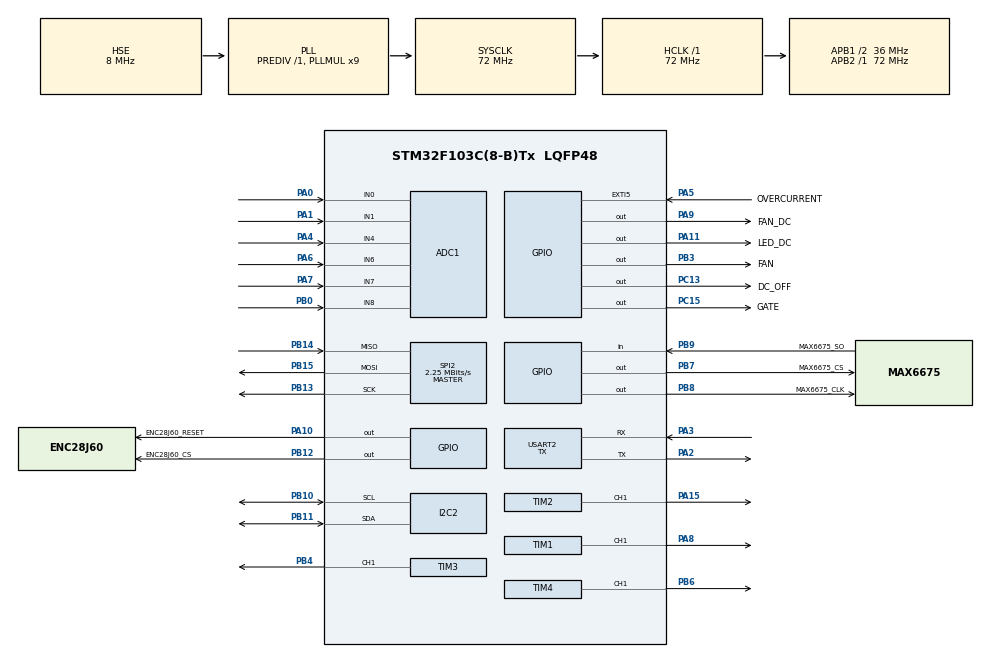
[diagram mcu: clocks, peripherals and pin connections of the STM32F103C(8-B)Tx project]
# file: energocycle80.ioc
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ADC1.Channel-0\#ChannelRegularConversion=ADC_CHANNEL_0
ADC1.Channel-1\#ChannelRegularConversion=ADC_CHANNEL_1
ADC1.Channel-2\#ChannelRegularConversion=ADC_CHANNEL_4
ADC1.Channel-3\#ChannelRegularConversion=ADC_CHANNEL_6
ADC1.Channel-4\#ChannelRegularConversion=ADC_CHANNEL_7
ADC1.Channel-5\#ChannelRegularConversion=ADC_CHANNEL_8
ADC1.ContinuousConvMode=ENABLE
ADC1.DataAlign=ADC_DATAALIGN_RIGHT
ADC1.NbrOfConversion=6
ADC1.NbrOfConversionFlag=1
ADC1.Rank-0\#ChannelRegularConversion=1
ADC1.Rank-1\#ChannelRegularConversion=2
ADC1.Rank-2\#ChannelRegularConversion=3
ADC1.Rank-3\#ChannelRegularConversion=4
ADC1.Rank-4\#ChannelRegularConversion=5
ADC1.Rank-5\#ChannelRegularConversion=6
ADC1.SamplingTime-0\#ChannelRegularConversion=ADC_SAMPLETIME_239CYCLES_5
ADC1.SamplingTime-1\#ChannelRegularConversion=ADC_SAMPLETIME_239CYCLES_5
ADC1.SamplingTime-2\#ChannelRegularConversion=ADC_SAMPLETIME_239CYCLES_5
ADC1.SamplingTime-3\#ChannelRegularConversion=ADC_SAMPLETIME_239CYCLES_5
ADC1.SamplingTime-4\#ChannelRegularConversion=ADC_SAMPLETIME_239CYCLES_5
ADC1.SamplingTime-5\#ChannelRegularConversion=ADC_SAMPLETIME_239CYCLES_5
ADC1.master=1
Dma.ADC1.0.Direction=DMA_PERIPH_TO_MEMORY
Dma.ADC1.0.Instance=DMA1_Channel1
Dma.ADC1.0.MemDataAlignment=DMA_MDATAALIGN_HALFWORD
Dma.ADC1.0.MemInc=DMA_MINC_ENABLE
Dma.ADC1.0.Mode=DMA_CIRCULAR
Dma.ADC1.0.PeriphDataAlignment=DMA_PDATAALIGN_HALFWORD
Dma.ADC1.0.PeriphInc=DMA_PINC_DISABLE
Dma.ADC1.0.Priority=DMA_PRIORITY_LOW
Dma.Request0=ADC1
FREERTOS.BinarySemaphores01=spi1BinarySem,Dynamic,NULL
FREERTOS.INCLUDE_vTaskDelayUntil=1
FREERTOS.Mutexes01=spi1Mutex,Dynamic,NULL
FREERTOS.Queues01=tempQueue,1,float,0,Dynamic,NULL,NULL;tempDCQueue,1,float,0,Dynamic,NULL,NULL
FREERTOS.Tasks01=defaultTask,-3,64,FdefaultTask,Default,NULL,Dynamic,NULL,NULL;mainTask,0,512,FmainTask,Default,NULL,Dynamic,NULL,NULL;tcpTask,0,512,FtcpTask,Default,NULL,Dynamic,NULL,NULL;tcpPeriodicTask,-2,128,FtcpPeriodicTask,Default,NULL,Dynamic,NULL,NULL;frameDecoderTask,2,256,FframeDecoderTask,Default,NULL,Dynamic,NULL,NULL
FREERTOS.Timers01=tempTimer,CtempTimer,osTimerPeriodic,Default,NULL,Dynamic,NULL;wwdgTimer,CwwdgTimer,osTimerPeriodic,Default,NULL,Dynamic,NULL
FREERTOS.configENABLE_BACKWARD_COMPATIBILITY=0
FREERTOS.configGENERATE_RUN_TIME_STATS=1
FREERTOS.configMAX_TASK_NAME_LEN=20
FREERTOS.configMINIMAL_STACK_SIZE=64
FREERTOS.configTIMER_TASK_PRIORITY=4
FREERTOS.configTIMER_TASK_STACK_DEPTH=128
FREERTOS.configTOTAL_HEAP_SIZE=8120
FREERTOS.configUSE_COUNTING_SEMAPHORES=1
FREERTOS.configUSE_MUTEXES=1
FREERTOS.configUSE_STATS_FORMATTING_FUNCTIONS=1
FREERTOS.configUSE_TIMERS=1
FREERTOS.configUSE_TRACE_FACILITY=1
Mcu.Family=STM32F1
Mcu.Name=STM32F103C(8-B)Tx
Mcu.Package=LQFP48
NVIC.ADC1_2_IRQn=true\:5\:0\:false\:false\:true\:true\:true\:true\:true
NVIC.DMA1_Channel1_IRQn=true\:5\:0\:false\:false\:true\:true\:false\:true\:true
NVIC.EXTI9_5_IRQn=true\:5\:0\:false\:false\:true\:true\:true\:true\:true
NVIC.PVD_IRQn=true\:0\:0\:true\:false\:true\:false\:true\:true\:true
NVIC.PriorityGroup=NVIC_PRIORITYGROUP_4
NVIC.WWDG_IRQn=true\:0\:0\:true\:false\:true\:false\:true\:true\:true
PA0-WKUP.Signal=ADCx_IN0
PA1.Signal=ADCx_IN1
PA10.GPIO_Label=ENC28J60_RESET
PA10.GPIO_PuPd=GPIO_PULLUP
PA10.PinState=GPIO_PIN_RESET
PA10.Signal=GPIO_Output
PA11.GPIO_Label=LED_DC
PA11.GPIO_PuPd=GPIO_PULLDOWN
PA11.Signal=GPIO_Output
PA13.Mode=Serial_Wire
PA13.Signal=SYS_JTMS-SWDIO
PA14.Mode=Serial_Wire
PA14.Signal=SYS_JTCK-SWCLK
PA15.GPIO_Speed=GPIO_SPEED_FREQ_HIGH
PA15.Signal=S_TIM2_CH1_ETR
PA2.Mode=Asynchronous
PA2.Signal=USART2_TX
PA3.Mode=Asynchronous
PA3.Signal=USART2_RX
PA4.Signal=ADCx_IN4
PA5.GPIO_Label=OVERCURRENT
PA5.GPIO_ModeDefaultEXTI=GPIO_MODE_IT_FALLING
PA5.GPIO_PuPd=GPIO_PULLUP
PA5.Signal=GPXTI5
PA6.Signal=ADCx_IN6
PA7.Signal=ADCx_IN7
PA8.GPIO_Speed=GPIO_SPEED_FREQ_HIGH
PA8.Signal=S_TIM1_CH1
PA9.GPIO_Label=FAN_DC
PA9.GPIO_ModeDefaultOutputPP=GPIO_MODE_OUTPUT_PP
PA9.GPIO_PuPd=GPIO_PULLDOWN
PA9.Signal=GPIO_Output
PB0.Signal=ADCx_IN8
PB10.GPIO_Pu=GPIO_PULLUP
PB10.Mode=I2C
PB10.Signal=I2C2_SCL
PB11.GPIO_Pu=GPIO_PULLUP
PB11.Mode=I2C
PB11.Signal=I2C2_SDA
PB12.GPIO_Label=ENC28J60_CS
PB12.GPIO_PuPd=GPIO_NOPULL
PB12.GPIO_Speed=GPIO_SPEED_FREQ_HIGH
PB12.Signal=GPIO_Output
PB13.Mode=Full_Duplex_Master
PB13.Signal=SPI2_SCK
PB14.Mode=Full_Duplex_Master
PB14.Signal=SPI2_MISO
PB15.Mode=Full_Duplex_Master
PB15.Signal=SPI2_MOSI
PB3.GPIO_Label=FAN
PB3.GPIO_PuPd=GPIO_PULLDOWN
PB3.Signal=GPIO_Output
PB4.GPIO_Speed=GPIO_SPEED_FREQ_HIGH
PB4.Signal=S_TIM3_CH1
PB6.GPIO_Speed=GPIO_SPEED_FREQ_HIGH
PB6.Signal=S_TIM4_CH1
PB7.GPIO_Label=MAX6675_CS
PB7.GPIO_Speed=GPIO_SPEED_FREQ_HIGH
PB7.Signal=GPIO_Output
PB8.GPIO_Label=MAX6675_CLK
PB8.GPIO_Speed=GPIO_SPEED_FREQ_HIGH
PB8.Signal=GPIO_Output
PB9.GPIO_Label=MAX6675_SO
PB9.Signal=GPIO_Input
PC13-TAMPER-RTC.GPIO_Label=DC_OFF
PC13-TAMPER-RTC.GPIO_PuPd=GPIO_PULLUP
PC13-TAMPER-RTC.GPIO_Speed=GPIO_SPEED_FREQ_HIGH
PC13-TAMPER-RTC.Signal=GPIO_Output
PC15-OSC32_OUT.GPIO_Label=GATE
PC15-OSC32_OUT.GPIO_PuPd=GPIO_PULLDOWN
PC15-OSC32_OUT.GPIO_Speed=GPIO_SPEED_FREQ_HIGH
PC15-OSC32_OUT.Signal=GPIO_Output
PD0-OSC_IN.Mode=HSE-External-Oscillator
PD0-OSC_IN.Signal=RCC_OSC_IN
PD1-OSC_OUT.Mode=HSE-External-Oscillator
PD1-OSC_OUT.Signal=RCC_OSC_OUT
ProjectManager.HeapSize=0x200
ProjectManager.StackSize=0x400
ProjectManager.TargetToolchain=STM32CubeIDE
RCC.ADCPresc=RCC_ADCPCLK2_DIV6
RCC.AHBFreq_Value=72000000
RCC.APB1CLKDivider=RCC_HCLK_DIV2
RCC.APB1Freq_Value=36000000
RCC.APB1TimFreq_Value=72000000
RCC.APB2Freq_Value=72000000
RCC.APB2TimFreq_Value=72000000
RCC.HCLKFreq_Value=72000000
RCC.PLLMUL=RCC_PLL_MUL9
RCC.PLLSourceVirtual=RCC_PLLSOURCE_HSE
RCC.SYSCLKFreq_VALUE=72000000
RCC.SYSCLKSource=RCC_SYSCLKSOURCE_PLLCLK
RCC.USBFreq_Value=48000000
RCC.USBPrescaler=RCC_USBCLKSOURCE_PLL_DIV1_5
SH.ADCx_IN0.0=ADC1_IN0,IN0
SH.ADCx_IN1.0=ADC1_IN1,IN1
SH.ADCx_IN4.0=ADC1_IN4,IN4
SH.ADCx_IN6.0=ADC1_IN6,IN6
SH.ADCx_IN7.0=ADC1_IN7,IN7
SH.ADCx_IN8.0=ADC1_IN8,IN8
SH.S_TIM1_CH1.0=TIM1_CH1,PWM Generation1 CH1
SH.S_TIM2_CH1_ETR.0=TIM2_CH1,PWM Generation1 CH1
SH.S_TIM3_CH1.0=TIM3_CH1,PWM Generation1 CH1
SH.S_TIM4_CH1.0=TIM4_CH1,PWM Generation1 CH1
SPI2.BaudRatePrescaler=SPI_BAUDRATEPRESCALER_16
SPI2.CalculateBaudRate=2.25 MBits/s
SPI2.Direction=SPI_DIRECTION_2LINES
SPI2.Mode=SPI_MODE_MASTER
SPI2.VirtualType=VM_MASTER
TIM1.Channel-PWM\ Generation1\ CH1=TIM_CHANNEL_1
TIM1.Period=PERIOD
TIM1.Prescaler=PRESCALER
TIM2.Channel-PWM\ Generation1\ CH1=TIM_CHANNEL_1
TIM2.Period=PERIOD
TIM2.Prescaler=PRESCALER
TIM3.Channel-PWM\ Generation1\ CH1=TIM_CHANNEL_1
TIM3.Period=PERIOD
TIM3.Prescaler=PRESCALER
TIM4.Channel-PWM\ Generation1\ CH1=TIM_CHANNEL_1
TIM4.Period=PERIOD
TIM4.Prescaler=PRESCALER
USART2.Mode=MODE_TX
USART2.VirtualMode=VM_ASYNC
VP_FREERTOS_VS_CMSIS_V1.Mode=CMSIS_V1
VP_TIM1_VS_ClockSourceINT.Mode=Internal
VP_TIM2_VS_ClockSourceINT.Mode=Internal
VP_TIM3_VS_ClockSourceINT.Mode=Internal
VP_TIM4_VS_ClockSourceINT.Mode=Internal
VP_WWDG_VS_WWDG.Mode=WWDG_Activate
WWDG.Counter=127
WWDG.EWIMode=WWDG_EWI_ENABLE
WWDG.Prescaler=WWDG_PRESCALER_8
WWDG.Window=127
board=custom

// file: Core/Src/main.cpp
/* USER CODE BEGIN Header */
/**
  ******************************************************************************
  * @file           : main.c
  * @brief          : Main program body
  ******************************************************************************
  * @attention
  *
  * <h2><center>&copy; Copyright (c) 2021 STMicroelectronics.
  * All rights reserved.</center></h2>
  *
  * This software component is licensed by ST under Ultimate Liberty license
  * SLA0044, the "License"; You may not use this file except in compliance with
  * the License. You may obtain a copy of the License at:
  *                             www.st.com/SLA0044
  *
  ******************************************************************************
  */
/* USER CODE END Header */
#include "main.h"
#include "cmsis_os.h"

/* USER CODE BEGIN Includes */
//#include "SEGGER_SYSVIEW.h"
#include "dwt.h"
#include "max6675.h"

#include "LinxSTM32F103.h"
#include "LinxListener.h"

#include "Flash.h"
#include "tcp.h"
#include "tcp_stream_buffer.h"

#include "Energocycle.h"
#include "adc.h"
#include "pwm.h"
//#include "pid.h"
#include "pwr.h"

#ifdef OCD_DEBUG
	#include <stdio.h>
#endif
#ifdef _UART_DEBUG
	#include <stdlib.h>
	#include <stdio.h>
	extern UART_HandleTypeDef huart2;
#endif
/* USER CODE END Includes */

/* USER CODE BEGIN PM */
//#define LOG(x, )
#ifdef OCD_DEBUG
extern "C" void initialise_monitor_handles(void);
#endif

void uip_log(char *m)
{
	//printf("uIP log message: %s\n", m);
#if defined SEGGER_DEBUG | defined OCD_DEBUG
	LOG("uIP log message: %s\n", m);
#endif
	//SEGGER_SYSVIEW_PrintfHost("uIP log message: %s\n", m);
}
/* USER CODE END PM */

ADC_HandleTypeDef hadc1;
DMA_HandleTypeDef hdma_adc1;

I2C_HandleTypeDef hi2c2;

SPI_HandleTypeDef hspi2;

TIM_HandleTypeDef htim1;
TIM_HandleTypeDef htim2;
TIM_HandleTypeDef htim3;
TIM_HandleTypeDef htim4;

UART_HandleTypeDef huart2;

WWDG_HandleTypeDef hwwdg;

osThreadId defaultTaskHandle;
osThreadId mainTaskHandle;
osThreadId tcpTaskHandle;
osThreadId tcpPeriodicTaskHandle;
osThreadId frameDecoderTaskHandle;
osMessageQId tempQueueHandle;
osMessageQId tempDCQueueHandle;
osTimerId tempTimerHandle;
osTimerId wwdgTimerHandle;
osMutexId spi1MutexHandle;
osSemaphoreId spi1BinarySemHandle;
/* USER CODE BEGIN PV */
//extern MessageBufferHandle_t tcp_rx_message_buffer;
//extern MessageBufferHandle_t tcp_tx_message_buffer;

LinxSTM32F103* LinxDevice;
LinxListener* Listener;
uint8_t TCP_NO_TRANS = 0x00;
uint8_t TCP_NO_TRANS_MAX = 5;
uint16_t CNT_TCP_RESETS = 0;

extern Energocycle_settings_s esettings;
extern Energocycle_status_s estatus;
extern EC_FLASH_settings eflash_settings;
extern Energocycle_ADC_s eadc;
extern Energocycle_DEBUG_s edebug;

extern MessageBufferHandle_t tcp_rx_message_buffer;
extern MessageBufferHandle_t tcp_tx_message_buffer;

extern uint8_t adc_started;
volatile uint8_t convCompleted = 0;

uint16_t energocycle_started = 0;

uint8_t WWDG_INIT = 0;
uint8_t FREERTOS_CHECK = 1;

uint16_t CNT_mainTask = 0;
uint16_t CNT_tcpTask = 0;
uint16_t CNT_tcpPeriodicTask = 0;
uint16_t CNT_frameDecoderTask = 0;
uint16_t CNT_tempTimer = 0;
uint16_t CNT_wwdgTimer = 0;
uint16_t _CNT_mainTask = 0xFFFF;
uint16_t _CNT_tcpTask = 0xFFFF;
uint16_t _CNT_tcpPeriodicTask = 0xFFFF;
uint16_t _CNT_tempTimer = 0xFFFF;

uint16_t CNT_WWDG_RESETS = 0;

#ifdef TEST_IRQ
uint8_t BUSF = 0x00;
uint8_t TEST_IRQ_fires = 0;
uint8_t STOP_MAIN = 0;
#endif
volatile int AAA[2];
volatile int BUSF;
/* USER CODE END PV */

void SystemClock_Config(void);
static void MX_GPIO_Init(void);
static void MX_SPI2_Init(void);
static void MX_ADC1_Init(void);
static void MX_I2C2_Init(void);
static void MX_TIM1_Init(void);
static void MX_DMA_Init(void);
static void MX_USART2_UART_Init(void);
static void MX_TIM2_Init(void);
static void MX_TIM3_Init(void);
static void MX_TIM4_Init(void);
static void MX_WWDG_Init(void);
void FdefaultTask(void const * argument);
void FmainTask(void const * argument);
void FtcpTask(void const * argument);
void FtcpPeriodicTask(void const * argument);
void FframeDecoderTask(void const * argument);
void CtempTimer(void const * argument);
void CwwdgTimer(void const * argument);

int main(void)
{

  /* MCU Configuration--------------------------------------------------------*/

  /* Reset of all peripherals, Initializes the Flash interface and the Systick. */
  HAL_Init();

  /* Configure the system clock */
  SystemClock_Config();

  /* Initialize all configured peripherals */
  MX_GPIO_Init();
  MX_SPI2_Init();
  MX_DMA_Init();
  MX_ADC1_Init();
  MX_I2C2_Init();
  MX_TIM1_Init();
  MX_USART2_UART_Init();
  MX_TIM2_Init();
  MX_TIM3_Init();
  MX_TIM4_Init();
  //MX_WWDG_Init();
  /* USER CODE BEGIN 2 */
  //!!!MX_DMA_Init must be before MX_ADC1_Init!!!
  //MX_WWDG_Init();
#ifdef SYSVIEW_DEBUG
  SEGGER_SYSVIEW_Conf();
#endif
#ifdef OCD_DEBUG
  initialise_monitor_handles();
#endif

  GATE_DIS();

  HAL_Delay(1000);

  FLASH_Init();
  FLASH_ReadSettings();
  if (eflash_settings.init != 0x12345670) {
	  eflash_settings.init = 0x12345670;
	  eflash_settings.epid_settings = EC_PID_settings();
	  eflash_settings.ecalib_settings = EC_CALIB_settings();
	  eflash_settings.wwdg_fires = 0x00000000;
	  eflash_settings.state = E_state_idle;
	  eflash_settings.energocycle_started = 0;
	  eflash_settings.error = E_no_error;
	  eflash_settings.ewwdg_settings = Energocycle_settings_s();
	  FLASH_WriteSettings();
  } else {
	  if (eflash_settings.wwdg_fires == 0x09876543) {
		  CNT_WWDG_RESETS++;

		  estatus.energocycle_started = eflash_settings.energocycle_started;
		  estatus.energocycle_stoped = eflash_settings.energocycle_stoped;
		  estatus.error = eflash_settings.error;
		  estatus.Cycles = eflash_settings.ewwdg_settings.Cycle; //!!!
		  esettings.Cycle = eflash_settings.ewwdg_settings.Cycle;
		  esettings.Cycles = eflash_settings.ewwdg_settings.Cycles;
		  esettings.DAC = eflash_settings.ewwdg_settings.DAC;
		  esettings.Imax = eflash_settings.ewwdg_settings.Imax;
		  esettings.Imin = eflash_settings.ewwdg_settings.Imin;
		  esettings.Inom = eflash_settings.ewwdg_settings.Inom;
		  esettings.Tmax = eflash_settings.ewwdg_settings.Tmax;
		  esettings.Tmin = eflash_settings.ewwdg_settings.Tmin;
		  esettings.Umax = eflash_settings.ewwdg_settings.Umax;
		  esettings.Umin = eflash_settings.ewwdg_settings.Umin;
		  esettings.Unom = eflash_settings.ewwdg_settings.Unom;
		  esettings.mode = eflash_settings.ewwdg_settings.mode;
		  esettings.res = eflash_settings.ewwdg_settings.res;
		  CNT_WWDG_RESETS = eflash_settings.CNT_WWDG_RESETS;

		  estatus.T_OFF = esettings.Tmax;

		  switch (eflash_settings.state) {
		  case E_state_idle:
		  case E_state_to_idle:
			  estatus.state = E_state_to_idle;
		  break;
		  case E_state_heat:
		  case E_state_to_heat:
			  estatus.state = E_state_to_heat;
		  break;
		  case E_state_cool:
		  case E_state_to_cool:
			  estatus.state = E_state_to_cool;
		  break;
		  case E_state_error:
		  case E_state_to_error:
			  estatus.state = E_state_to_error;
		  break;
		  case E_state_done:
		  case E_state_to_done:
			  estatus.state = E_state_to_done;
		  break;
		  case E_state_ostanov:
		  case E_state_to_ostanov:
			  estatus.state = E_state_to_ostanov;
		  break;
		  case E_state_test:
		  case E_state_to_test:
			  estatus.state = E_state_to_test;
		  break;
		  case E_state_calibration:
		  case E_state_to_calibration:
			  estatus.state = E_state_to_calibration;
		  break;
		  case E_state_reset:
			  estatus.state = E_state_reset;
		  break;
		  default:
			  estatus.state = E_state_to_idle;
		  }

#if defined SEGGER_DEBUG || defined OCD_DEBUG || _UART_DEBUG
		  LOG("WWDG RESTART FROM FLASH\r\n");
		  LOG("estatus.state=%u\r\n", estatus.state);
		  LOG("estatus.Cycles=%u\r\n", estatus.Cycles);
		  LOG("esettings.Cycle=%u\r\n", esettings.Cycle);
#endif

		  eflash_settings.wwdg_fires = 0x00000000;
		  eflash_settings.ewwdg_settings = Energocycle_settings_s();
		  FLASH_WriteSettings();
	  }
  }

  DWT_Init();
  MAX6675_init(); //must be first cause CS up!!!
  tcp_init();
  LM92_init();

  LinxDevice = new LinxSTM32F103();
  Listener = new LinxListener();
  Listener->LinxDev = LinxDevice;

  adc_init();
  pwm_init();
  pwr_init();
  /* USER CODE END 2 */

  /* Create the mutex(es) */
  /* definition and creation of spi1Mutex */
  osMutexDef(spi1Mutex);
  spi1MutexHandle = osMutexCreate(osMutex(spi1Mutex));

  /* Create the semaphores(s) */
  /* definition and creation of spi1BinarySem */
  osSemaphoreDef(spi1BinarySem);
  spi1BinarySemHandle = osSemaphoreCreate(osSemaphore(spi1BinarySem), 1);

  /* Create the timer(s) */
  /* definition and creation of tempTimer */
  osTimerDef(tempTimer, CtempTimer);
  tempTimerHandle = osTimerCreate(osTimer(tempTimer), osTimerPeriodic, NULL);

  /* definition and creation of wwdgTimer */
  osTimerDef(wwdgTimer, CwwdgTimer);
  wwdgTimerHandle = osTimerCreate(osTimer(wwdgTimer), osTimerPeriodic, NULL);

  /* USER CODE BEGIN RTOS_TIMERS */
  /* start timers, add new ones, ... */
  osTimerStart(tempTimerHandle, 300);
  osTimerStart(wwdgTimerHandle, 10);
  /* USER CODE END RTOS_TIMERS */

  /* Create the queue(s) */
  /* definition and creation of tempQueue */
  osMessageQDef(tempQueue, 1, float);
  tempQueueHandle = osMessageCreate(osMessageQ(tempQueue), NULL);

  /* definition and creation of tempDCQueue */
  osMessageQDef(tempDCQueue, 1, float);
  tempDCQueueHandle = osMessageCreate(osMessageQ(tempDCQueue), NULL);

  /* Create the thread(s) */
  /* definition and creation of defaultTask */
  osThreadDef(defaultTask, FdefaultTask, osPriorityIdle, 0, 64);
  defaultTaskHandle = osThreadCreate(osThread(defaultTask), NULL);

  /* definition and creation of mainTask */
  osThreadDef(mainTask, FmainTask, osPriorityNormal, 0, 512);
  mainTaskHandle = osThreadCreate(osThread(mainTask), NULL);

  /* definition and creation of tcpTask */
  osThreadDef(tcpTask, FtcpTask, osPriorityNormal, 0, 512);
  tcpTaskHandle = osThreadCreate(osThread(tcpTask), NULL);

  /* definition and creation of tcpPeriodicTask */
  osThreadDef(tcpPeriodicTask, FtcpPeriodicTask, osPriorityLow, 0, 128);
  tcpPeriodicTaskHandle = osThreadCreate(osThread(tcpPeriodicTask), NULL);

  /* definition and creation of frameDecoderTask */
  osThreadDef(frameDecoderTask, FframeDecoderTask, osPriorityHigh, 0, 256);
  frameDecoderTaskHandle = osThreadCreate(osThread(frameDecoderTask), NULL);

  /* USER CODE BEGIN RTOS_THREADS */
  /* add threads, ... */
  #if defined SEGGER_DEBUG || defined OCD_DEBUG || _UART_DEBUG
    LOG("%s", "stm started\r\n");

    LOG("PID_SETTINGS \r\n"
		"T Kp=%u.%02u; T Ki=%u.%02u; T Kd=%u.%02u; \r\n"
		"U Kp=%u.%02u; U Ki=%u.%02u; U Kd=%u.%02u; \r\n"
		"I Kp=%u.%02u; I Ki=%u.%02u; I Kd=%u.%02u; \r\n",
  		FLOAT_PRINTF(eflash_settings.epid_settings.T_PID_settings.Kp),
  		FLOAT_PRINTF(eflash_settings.epid_settings.T_PID_settings.Ki),
  		FLOAT_PRINTF(eflash_settings.epid_settings.T_PID_settings.Kd),
  		FLOAT_PRINTF(eflash_settings.epid_settings.U_PID_settings.Kp),
  		FLOAT_PRINTF(eflash_settings.epid_settings.U_PID_settings.Ki),
  		FLOAT_PRINTF(eflash_settings.epid_settings.U_PID_settings.Kd),
  		FLOAT_PRINTF(eflash_settings.epid_settings.I_PID_settings.Kp),
  		FLOAT_PRINTF(eflash_settings.epid_settings.I_PID_settings.Ki),
  		FLOAT_PRINTF(eflash_settings.epid_settings.I_PID_settings.Kd));

    LOG("CALIB_SETTINGS \r\n"
  		"T K=%u.%02u; T B=%u.%02u \r\n"
  		"U K=%u.%02u; U B=%u.%02u; \r\n"
  		"I K=%u.%02u; I B=%u.%02u; \r\n",
  		FLOAT_PRINTF(eflash_settings.ecalib_settings.T_CALIB_settings.K),
  		FLOAT_PRINTF(eflash_settings.ecalib_settings.T_CALIB_settings.B),
  		FLOAT_PRINTF(eflash_settings.ecalib_settings.U_CALIB_settings.K),
  		FLOAT_PRINTF(eflash_settings.ecalib_settings.U_CALIB_settings.B),
  		FLOAT_PRINTF(eflash_settings.ecalib_settings.I_CALIB_settings.K),
  		FLOAT_PRINTF(eflash_settings.ecalib_settings.I_CALIB_settings.B));
  #endif

  /* USER CODE END RTOS_THREADS */

  /* Start scheduler */
  osKernelStart();

  /* We should never get here as control is now taken by the scheduler */
  /* Infinite loop */
  while (1)
  {

  }
}

void SystemClock_Config(void)
{
  RCC_OscInitTypeDef RCC_OscInitStruct = {0};
  RCC_ClkInitTypeDef RCC_ClkInitStruct = {0};
  RCC_PeriphCLKInitTypeDef PeriphClkInit = {0};

  /** Initializes the RCC Oscillators according to the specified parameters
  * in the RCC_OscInitTypeDef structure.
  */
  RCC_OscInitStruct.OscillatorType = RCC_OSCILLATORTYPE_HSE;
  RCC_OscInitStruct.HSEState = RCC_HSE_ON;
  RCC_OscInitStruct.HSEPredivValue = RCC_HSE_PREDIV_DIV1;
  RCC_OscInitStruct.HSIState = RCC_HSI_ON;
  RCC_OscInitStruct.PLL.PLLState = RCC_PLL_ON;
  RCC_OscInitStruct.PLL.PLLSource = RCC_PLLSOURCE_HSE;
  RCC_OscInitStruct.PLL.PLLMUL = RCC_PLL_MUL9;
  if (HAL_RCC_OscConfig(&RCC_OscInitStruct) != HAL_OK)
  {
    Error_Handler();
  }
  /** Initializes the CPU, AHB and APB buses clocks
  */
  RCC_ClkInitStruct.ClockType = RCC_CLOCKTYPE_HCLK|RCC_CLOCKTYPE_SYSCLK
                              |RCC_CLOCKTYPE_PCLK1|RCC_CLOCKTYPE_PCLK2;
  RCC_ClkInitStruct.SYSCLKSource = RCC_SYSCLKSOURCE_PLLCLK;
  RCC_ClkInitStruct.AHBCLKDivider = RCC_SYSCLK_DIV1;
  RCC_ClkInitStruct.APB1CLKDivider = RCC_HCLK_DIV2;
  RCC_ClkInitStruct.APB2CLKDivider = RCC_HCLK_DIV1;

  if (HAL_RCC_ClockConfig(&RCC_ClkInitStruct, FLASH_LATENCY_2) != HAL_OK)
  {
    Error_Handler();
  }
  PeriphClkInit.PeriphClockSelection = RCC_PERIPHCLK_ADC;
  PeriphClkInit.AdcClockSelection = RCC_ADCPCLK2_DIV6;
  if (HAL_RCCEx_PeriphCLKConfig(&PeriphClkInit) != HAL_OK)
  {
    Error_Handler();
  }
}

static void MX_ADC1_Init(void)
{

  ADC_ChannelConfTypeDef sConfig = {0};

  /** Common config
  */
  hadc1.Instance = ADC1;
  hadc1.Init.ScanConvMode = ADC_SCAN_ENABLE;
  hadc1.Init.ContinuousConvMode = ENABLE;
  hadc1.Init.DiscontinuousConvMode = DISABLE;
  hadc1.Init.ExternalTrigConv = ADC_SOFTWARE_START;
  hadc1.Init.DataAlign = ADC_DATAALIGN_RIGHT;
  hadc1.Init.NbrOfConversion = 6;
  if (HAL_ADC_Init(&hadc1) != HAL_OK)
  {
    Error_Handler();
  }
  /** Configure Regular Channel
  */
  sConfig.Channel = ADC_CHANNEL_0;
  sConfig.Rank = ADC_REGULAR_RANK_1;
  sConfig.SamplingTime = ADC_SAMPLETIME_239CYCLES_5;
  if (HAL_ADC_ConfigChannel(&hadc1, &sConfig) != HAL_OK)
  {
    Error_Handler();
  }
  /** Configure Regular Channel
  */
  sConfig.Channel = ADC_CHANNEL_1;
  sConfig.Rank = ADC_REGULAR_RANK_2;
  if (HAL_ADC_ConfigChannel(&hadc1, &sConfig) != HAL_OK)
  {
    Error_Handler();
  }
  /** Configure Regular Channel
  */
  sConfig.Channel = ADC_CHANNEL_4;
  sConfig.Rank = ADC_REGULAR_RANK_3;
  if (HAL_ADC_ConfigChannel(&hadc1, &sConfig) != HAL_OK)
  {
    Error_Handler();
  }
  /** Configure Regular Channel
  */
  sConfig.Channel = ADC_CHANNEL_6;
  sConfig.Rank = ADC_REGULAR_RANK_4;
  if (HAL_ADC_ConfigChannel(&hadc1, &sConfig) != HAL_OK)
  {
    Error_Handler();
  }
  /** Configure Regular Channel
  */
  sConfig.Channel = ADC_CHANNEL_7;
  sConfig.Rank = ADC_REGULAR_RANK_5;
  if (HAL_ADC_ConfigChannel(&hadc1, &sConfig) != HAL_OK)
  {
    Error_Handler();
  }
  /** Configure Regular Channel
  */
  sConfig.Channel = ADC_CHANNEL_8;
  sConfig.Rank = ADC_REGULAR_RANK_6;
  if (HAL_ADC_ConfigChannel(&hadc1, &sConfig) != HAL_OK)
  {
    Error_Handler();
  }

}

static void MX_I2C2_Init(void)
{

  hi2c2.Instance = I2C2;
  hi2c2.Init.ClockSpeed = 100000;
  hi2c2.Init.DutyCycle = I2C_DUTYCYCLE_2;
  hi2c2.Init.OwnAddress1 = 0;
  hi2c2.Init.AddressingMode = I2C_ADDRESSINGMODE_7BIT;
  hi2c2.Init.DualAddressMode = I2C_DUALADDRESS_DISABLE;
  hi2c2.Init.OwnAddress2 = 0;
  hi2c2.Init.GeneralCallMode = I2C_GENERALCALL_DISABLE;
  hi2c2.Init.NoStretchMode = I2C_NOSTRETCH_DISABLE;
  if (HAL_I2C_Init(&hi2c2) != HAL_OK)
  {
    Error_Handler();
  }

}

static void MX_SPI2_Init(void)
{

  /* SPI2 parameter configuration*/
  hspi2.Instance = SPI2;
  hspi2.Init.Mode = SPI_MODE_MASTER;
  hspi2.Init.Direction = SPI_DIRECTION_2LINES;
  hspi2.Init.DataSize = SPI_DATASIZE_8BIT;
  hspi2.Init.CLKPolarity = SPI_POLARITY_LOW;
  hspi2.Init.CLKPhase = SPI_PHASE_1EDGE;
  hspi2.Init.NSS = SPI_NSS_SOFT;
  hspi2.Init.BaudRatePrescaler = SPI_BAUDRATEPRESCALER_16;
  hspi2.Init.FirstBit = SPI_FIRSTBIT_MSB;
  hspi2.Init.TIMode = SPI_TIMODE_DISABLE;
  hspi2.Init.CRCCalculation = SPI_CRCCALCULATION_DISABLE;
  hspi2.Init.CRCPolynomial = 10;
  if (HAL_SPI_Init(&hspi2) != HAL_OK)
  {
    Error_Handler();
  }

}

static void MX_TIM1_Init(void)
{

  TIM_ClockConfigTypeDef sClockSourceConfig = {0};
  TIM_MasterConfigTypeDef sMasterConfig = {0};
  TIM_OC_InitTypeDef sConfigOC = {0};
  TIM_BreakDeadTimeConfigTypeDef sBreakDeadTimeConfig = {0};

  htim1.Instance = TIM1;
  htim1.Init.Prescaler = PRESCALER;
  htim1.Init.CounterMode = TIM_COUNTERMODE_UP;
  htim1.Init.Period = PERIOD;
  htim1.Init.ClockDivision = TIM_CLOCKDIVISION_DIV1;
  htim1.Init.RepetitionCounter = 0;
  htim1.Init.AutoReloadPreload = TIM_AUTORELOAD_PRELOAD_DISABLE;
  if (HAL_TIM_Base_Init(&htim1) != HAL_OK)
  {
    Error_Handler();
  }
  sClockSourceConfig.ClockSource = TIM_CLOCKSOURCE_INTERNAL;
  if (HAL_TIM_ConfigClockSource(&htim1, &sClockSourceConfig) != HAL_OK)
  {
    Error_Handler();
  }
  if (HAL_TIM_PWM_Init(&htim1) != HAL_OK)
  {
    Error_Handler();
  }
  sMasterConfig.MasterOutputTrigger = TIM_TRGO_RESET;
  sMasterConfig.MasterSlaveMode = TIM_MASTERSLAVEMODE_DISABLE;
  if (HAL_TIMEx_MasterConfigSynchronization(&htim1, &sMasterConfig) != HAL_OK)
  {
    Error_Handler();
  }
  sConfigOC.OCMode = TIM_OCMODE_PWM1;
  sConfigOC.Pulse = 0;
  sConfigOC.OCPolarity = TIM_OCPOLARITY_HIGH;
  sConfigOC.OCNPolarity = TIM_OCNPOLARITY_HIGH;
  sConfigOC.OCFastMode = TIM_OCFAST_DISABLE;
  sConfigOC.OCIdleState = TIM_OCIDLESTATE_RESET;
  sConfigOC.OCNIdleState = TIM_OCNIDLESTATE_RESET;
  if (HAL_TIM_PWM_ConfigChannel(&htim1, &sConfigOC, TIM_CHANNEL_1) != HAL_OK)
  {
    Error_Handler();
  }
  sBreakDeadTimeConfig.OffStateRunMode = TIM_OSSR_DISABLE;
  sBreakDeadTimeConfig.OffStateIDLEMode = TIM_OSSI_DISABLE;
  sBreakDeadTimeConfig.LockLevel = TIM_LOCKLEVEL_OFF;
  sBreakDeadTimeConfig.DeadTime = 0;
  sBreakDeadTimeConfig.BreakState = TIM_BREAK_DISABLE;
  sBreakDeadTimeConfig.BreakPolarity = TIM_BREAKPOLARITY_HIGH;
  sBreakDeadTimeConfig.AutomaticOutput = TIM_AUTOMATICOUTPUT_DISABLE;
  if (HAL_TIMEx_ConfigBreakDeadTime(&htim1, &sBreakDeadTimeConfig) != HAL_OK)
  {
    Error_Handler();
  }
  HAL_TIM_MspPostInit(&htim1);

}

static void MX_TIM2_Init(void)
{

  TIM_ClockConfigTypeDef sClockSourceConfig = {0};
  TIM_MasterConfigTypeDef sMasterConfig = {0};
  TIM_OC_InitTypeDef sConfigOC = {0};

  htim2.Instance = TIM2;
  htim2.Init.Prescaler = PRESCALER;
  htim2.Init.CounterMode = TIM_COUNTERMODE_UP;
  htim2.Init.Period = PERIOD;
  htim2.Init.ClockDivision = TIM_CLOCKDIVISION_DIV1;
  htim2.Init.AutoReloadPreload = TIM_AUTORELOAD_PRELOAD_DISABLE;
  if (HAL_TIM_Base_Init(&htim2) != HAL_OK)
  {
    Error_Handler();
  }
  sClockSourceConfig.ClockSource = TIM_CLOCKSOURCE_INTERNAL;
  if (HAL_TIM_ConfigClockSource(&htim2, &sClockSourceConfig) != HAL_OK)
  {
    Error_Handler();
  }
  if (HAL_TIM_PWM_Init(&htim2) != HAL_OK)
  {
    Error_Handler();
  }
  sMasterConfig.MasterOutputTrigger = TIM_TRGO_RESET;
  sMasterConfig.MasterSlaveMode = TIM_MASTERSLAVEMODE_DISABLE;
  if (HAL_TIMEx_MasterConfigSynchronization(&htim2, &sMasterConfig) != HAL_OK)
  {
    Error_Handler();
  }
  sConfigOC.OCMode = TIM_OCMODE_PWM1;
  sConfigOC.Pulse = 0;
  sConfigOC.OCPolarity = TIM_OCPOLARITY_HIGH;
  sConfigOC.OCFastMode = TIM_OCFAST_DISABLE;
  if (HAL_TIM_PWM_ConfigChannel(&htim2, &sConfigOC, TIM_CHANNEL_1) != HAL_OK)
  {
    Error_Handler();
  }
  HAL_TIM_MspPostInit(&htim2);

}

static void MX_TIM3_Init(void)
{

  TIM_ClockConfigTypeDef sClockSourceConfig = {0};
  TIM_MasterConfigTypeDef sMasterConfig = {0};
  TIM_OC_InitTypeDef sConfigOC = {0};

  htim3.Instance = TIM3;
  htim3.Init.Prescaler = PRESCALER;
  htim3.Init.CounterMode = TIM_COUNTERMODE_UP;
  htim3.Init.Period = PERIOD;
  htim3.Init.ClockDivision = TIM_CLOCKDIVISION_DIV1;
  htim3.Init.AutoReloadPreload = TIM_AUTORELOAD_PRELOAD_DISABLE;
  if (HAL_TIM_Base_Init(&htim3) != HAL_OK)
  {
    Error_Handler();
  }
  sClockSourceConfig.ClockSource = TIM_CLOCKSOURCE_INTERNAL;
  if (HAL_TIM_ConfigClockSource(&htim3, &sClockSourceConfig) != HAL_OK)
  {
    Error_Handler();
  }
  if (HAL_TIM_PWM_Init(&htim3) != HAL_OK)
  {
    Error_Handler();
  }
  sMasterConfig.MasterOutputTrigger = TIM_TRGO_RESET;
  sMasterConfig.MasterSlaveMode = TIM_MASTERSLAVEMODE_DISABLE;
  if (HAL_TIMEx_MasterConfigSynchronization(&htim3, &sMasterConfig) != HAL_OK)
  {
    Error_Handler();
  }
  sConfigOC.OCMode = TIM_OCMODE_PWM1;
  sConfigOC.Pulse = 0;
  sConfigOC.OCPolarity = TIM_OCPOLARITY_HIGH;
  sConfigOC.OCFastMode = TIM_OCFAST_DISABLE;
  if (HAL_TIM_PWM_ConfigChannel(&htim3, &sConfigOC, TIM_CHANNEL_1) != HAL_OK)
  {
    Error_Handler();
  }
  HAL_TIM_MspPostInit(&htim3);

}

static void MX_TIM4_Init(void)
{

  TIM_ClockConfigTypeDef sClockSourceConfig = {0};
  TIM_MasterConfigTypeDef sMasterConfig = {0};
  TIM_OC_InitTypeDef sConfigOC = {0};

  htim4.Instance = TIM4;
  htim4.Init.Prescaler = PRESCALER;
  htim4.Init.CounterMode = TIM_COUNTERMODE_UP;
  htim4.Init.Period = PERIOD;
  htim4.Init.ClockDivision = TIM_CLOCKDIVISION_DIV1;
  htim4.Init.AutoReloadPreload = TIM_AUTORELOAD_PRELOAD_DISABLE;
  if (HAL_TIM_Base_Init(&htim4) != HAL_OK)
  {
    Error_Handler();
  }
  sClockSourceConfig.ClockSource = TIM_CLOCKSOURCE_INTERNAL;
  if (HAL_TIM_ConfigClockSource(&htim4, &sClockSourceConfig) != HAL_OK)
  {
    Error_Handler();
  }
  if (HAL_TIM_PWM_Init(&htim4) != HAL_OK)
  {
    Error_Handler();
  }
  sMasterConfig.MasterOutputTrigger = TIM_TRGO_RESET;
  sMasterConfig.MasterSlaveMode = TIM_MASTERSLAVEMODE_DISABLE;
  if (HAL_TIMEx_MasterConfigSynchronization(&htim4, &sMasterConfig) != HAL_OK)
  {
    Error_Handler();
  }
  sConfigOC.OCMode = TIM_OCMODE_PWM1;
  sConfigOC.Pulse = 0;
  sConfigOC.OCPolarity = TIM_OCPOLARITY_HIGH;
  sConfigOC.OCFastMode = TIM_OCFAST_DISABLE;
  if (HAL_TIM_PWM_ConfigChannel(&htim4, &sConfigOC, TIM_CHANNEL_1) != HAL_OK)
  {
    Error_Handler();
  }
  HAL_TIM_MspPostInit(&htim4);

}

static void MX_USART2_UART_Init(void)
{

  huart2.Instance = USART2;
  huart2.Init.BaudRate = 115200;
  huart2.Init.WordLength = UART_WORDLENGTH_8B;
  huart2.Init.StopBits = UART_STOPBITS_1;
  huart2.Init.Parity = UART_PARITY_NONE;
  huart2.Init.Mode = UART_MODE_TX;
  huart2.Init.HwFlowCtl = UART_HWCONTROL_NONE;
  huart2.Init.OverSampling = UART_OVERSAMPLING_16;
  if (HAL_UART_Init(&huart2) != HAL_OK)
  {
    Error_Handler();
  }

}

static void MX_WWDG_Init(void)
{

  hwwdg.Instance = WWDG;
  hwwdg.Init.Prescaler = WWDG_PRESCALER_8;
  hwwdg.Init.Window = 127;
  hwwdg.Init.Counter = 127;
  hwwdg.Init.EWIMode = WWDG_EWI_ENABLE;
  if (HAL_WWDG_Init(&hwwdg) != HAL_OK)
  {
    Error_Handler();
  }
  /* USER CODE BEGIN WWDG_Init 2 */
  __HAL_WWDG_ENABLE(&hwwdg);
  WWDG->SR &= ~WWDG_SR_EWIF;
  WWDG->CFR |= WWDG_CFR_EWI;
  //WWDG->CR = 0x3F;
  /* USER CODE END WWDG_Init 2 */

}

static void MX_DMA_Init(void)
{

  /* DMA controller clock enable */
  __HAL_RCC_DMA1_CLK_ENABLE();

  /* DMA interrupt init */
  /* DMA1_Channel1_IRQn interrupt configuration */
  HAL_NVIC_SetPriority(DMA1_Channel1_IRQn, 5, 0);
  HAL_NVIC_EnableIRQ(DMA1_Channel1_IRQn);

}

static void MX_GPIO_Init(void)
{
  GPIO_InitTypeDef GPIO_InitStruct = {0};

  /* GPIO Ports Clock Enable */
  __HAL_RCC_GPIOC_CLK_ENABLE();
  __HAL_RCC_GPIOD_CLK_ENABLE();
  __HAL_RCC_GPIOA_CLK_ENABLE();
  __HAL_RCC_GPIOB_CLK_ENABLE();

  /*Configure GPIO pin Output Level */
  HAL_GPIO_WritePin(GPIOC, DC_OFF_Pin|GATE_Pin, GPIO_PIN_RESET);

  /*Configure GPIO pin Output Level */
  HAL_GPIO_WritePin(GPIOB, ENC28J60_CS_Pin|FAN_Pin|MAX6675_CS_Pin|MAX6675_CLK_Pin, GPIO_PIN_RESET);

  /*Configure GPIO pin Output Level */
  HAL_GPIO_WritePin(GPIOA, FAN_DC_Pin|ENC28J60_RESET_Pin|LED_DC_Pin, GPIO_PIN_RESET);

  /*Configure GPIO pin : DC_OFF_Pin */
  GPIO_InitStruct.Pin = DC_OFF_Pin;
  GPIO_InitStruct.Mode = GPIO_MODE_OUTPUT_PP;
  GPIO_InitStruct.Pull = GPIO_PULLUP;
  GPIO_InitStruct.Speed = GPIO_SPEED_FREQ_HIGH;
  HAL_GPIO_Init(DC_OFF_GPIO_Port, &GPIO_InitStruct);

  /*Configure GPIO pin : GATE_Pin */
  GPIO_InitStruct.Pin = GATE_Pin;
  GPIO_InitStruct.Mode = GPIO_MODE_OUTPUT_PP;
  GPIO_InitStruct.Pull = GPIO_PULLDOWN;
  GPIO_InitStruct.Speed = GPIO_SPEED_FREQ_HIGH;
  HAL_GPIO_Init(GATE_GPIO_Port, &GPIO_InitStruct);

  /*Configure GPIO pin : OVERCURRENT_Pin */
  GPIO_InitStruct.Pin = OVERCURRENT_Pin;
  GPIO_InitStruct.Mode = GPIO_MODE_IT_FALLING;
  GPIO_InitStruct.Pull = GPIO_PULLUP;
  HAL_GPIO_Init(OVERCURRENT_GPIO_Port, &GPIO_InitStruct);

  /*Configure GPIO pins : ENC28J60_CS_Pin MAX6675_CS_Pin MAX6675_CLK_Pin */
  GPIO_InitStruct.Pin = ENC28J60_CS_Pin|MAX6675_CS_Pin|MAX6675_CLK_Pin;
  GPIO_InitStruct.Mode = GPIO_MODE_OUTPUT_PP;
  GPIO_InitStruct.Pull = GPIO_NOPULL;
  GPIO_InitStruct.Speed = GPIO_SPEED_FREQ_HIGH;
  HAL_GPIO_Init(GPIOB, &GPIO_InitStruct);

  /*Configure GPIO pins : FAN_DC_Pin LED_DC_Pin */
  GPIO_InitStruct.Pin = FAN_DC_Pin|LED_DC_Pin;
  GPIO_InitStruct.Mode = GPIO_MODE_OUTPUT_PP;
  GPIO_InitStruct.Pull = GPIO_PULLDOWN;
  GPIO_InitStruct.Speed = GPIO_SPEED_FREQ_LOW;
  HAL_GPIO_Init(GPIOA, &GPIO_InitStruct);

  /*Configure GPIO pin : ENC28J60_RESET_Pin */
  GPIO_InitStruct.Pin = ENC28J60_RESET_Pin;
  GPIO_InitStruct.Mode = GPIO_MODE_OUTPUT_PP;
  GPIO_InitStruct.Pull = GPIO_PULLUP;
  GPIO_InitStruct.Speed = GPIO_SPEED_FREQ_LOW;
  HAL_GPIO_Init(ENC28J60_RESET_GPIO_Port, &GPIO_InitStruct);

  /*Configure GPIO pin : FAN_Pin */
  GPIO_InitStruct.Pin = FAN_Pin;
  GPIO_InitStruct.Mode = GPIO_MODE_OUTPUT_PP;
  GPIO_InitStruct.Pull = GPIO_PULLDOWN;
  GPIO_InitStruct.Speed = GPIO_SPEED_FREQ_LOW;
  HAL_GPIO_Init(FAN_GPIO_Port, &GPIO_InitStruct);

  /*Configure GPIO pin : MAX6675_SO_Pin */
  GPIO_InitStruct.Pin = MAX6675_SO_Pin;
  GPIO_InitStruct.Mode = GPIO_MODE_INPUT;
  GPIO_InitStruct.Pull = GPIO_NOPULL;
  HAL_GPIO_Init(MAX6675_SO_GPIO_Port, &GPIO_InitStruct);

  /* EXTI interrupt init*/
  HAL_NVIC_SetPriority(EXTI9_5_IRQn, 5, 0);
  HAL_NVIC_EnableIRQ(EXTI9_5_IRQn);

}

/* USER CODE BEGIN 4 */
void HAL_GPIO_EXTI_Callback(uint16_t GPIO_Pin) {
	if (GPIO_Pin == OVERCURRENT_Pin) {

		energocycle_abort();

		if ((estatus.state == E_state_to_heat) || (estatus.state == E_state_heat) ||
			(estatus.state == E_state_to_test) || (estatus.state == E_state_test) ||
			(estatus.state == E_state_to_calibration) || (estatus.state == E_state_calibration)) {
			estatus.state = E_state_to_error;
			estatus.error = E_I_overcurrent;
		}
	}
#ifdef TEST_IRQ
	else if (GPIO_Pin == TEST_IRQ_Pin){
		//HAL_NVIC_ClearPendingIRQ(EXTI15_10_IRQn);

		if (TEST_IRQ_fires == 0) {
			TEST_IRQ_fires = 1;

			LOG("HAL_GPIO_EXTI_Callback \r\n");

			//volatile int AAA[2];
			//BUSF = AAA[100000000];

			STOP_MAIN = 1;

			LOG("HAL_GPIO_EXTI_Callback END\r\n"); //unreachable
		}
	}
#endif
	else {
		__NOP();
	}
}

void HAL_ADC_ConvCpltCallback(ADC_HandleTypeDef* hadc) {
  convCompleted = 1;

  BaseType_t xYieldRequired;

  // Resume the suspended task.
  xYieldRequired = xTaskResumeFromISR(mainTaskHandle);

  // We should switch context so the ISR returns to a different task.
  // NOTE:  How this is done depends on the port you are using.  Check
  // the documentation and examples for your port.
  portYIELD_FROM_ISR(xYieldRequired);
}

void HAL_ADC_ErrorCallback(ADC_HandleTypeDef *hadc) {
  asm("BKPT #0");
}

void HAL_WWDG_EarlyWakeupCallback(WWDG_HandleTypeDef *hwwdg) {

	WWDG->CR |= 0x7F;

	__disable_irq();

	WWDG->CR |= 0x7F;
#if defined SEGGER_DEBUG || defined OCD_DEBUG || _UART_DEBUG
	LOG("HAL_WWDG_EarlyWakeupCallback\r\n");
#endif
	WWDG->CR |= 0x7F;

	energocycle_write_flash();

	WWDG->CR |= 0x40; // Обновить значение таймера WWDG
	HAL_Delay(10);
	//HAL_NVIC_SystemReset();
}

void HAL_PWR_PVDCallback(void)
{
	energocycle_abort();

	if ((estatus.state == E_state_to_heat) || (estatus.state == E_state_heat) ||
		(estatus.state == E_state_to_test) || (estatus.state == E_state_test) ||
		(estatus.state == E_state_to_calibration) || (estatus.state == E_state_calibration)) {
		estatus.state = E_state_to_error;
		estatus.error = E_WD;
	}
}
/* USER CODE END 4 */

void FdefaultTask(void const * argument)
{
  /* USER CODE BEGIN 5 */

	/* Infinite loop */
	for(;;)
	{
#ifdef TEST_IRQ
		if (TEST_IRQ_fires == 1) {
			if (STOP_MAIN == 1) {
				osThreadTerminate(mainTaskHandle);
			}
			osDelay(10000);
			TEST_IRQ_fires = 0;
		} else {
			osDelay(1000);
		}
#else
		osDelay(1000);
#endif
	}

  /* USER CODE END 5 */
}

void FmainTask(void const * argument)
{
  /* USER CODE BEGIN FmainTask */
  uint32_t i = 0;

  TickType_t xLastWakeTime = xTaskGetTickCount();
  /* Infinite loop */
  HAL_Delay(100);

#ifdef WWDG_PROTECTION
  MX_WWDG_Init();
  WWDG_INIT = 1;
#endif

  //adc_start();
  pwm_set_up();

  for(;;)
  {
#if defined SEGGER_DEBUG || defined OCD_DEBUG
	SEGGER_SYSVIEW_PrintfHost("main\n");
#endif

	vTaskSuspend(NULL);

	if (convCompleted){
		if (adc_started < ADC_START_MEASUREMENTS) {
			adc_started++;
		} else if (adc_started == ADC_START_MEASUREMENTS) {
			adc_get_values();
			uint8_t I_meas_error = adc_get_zeroes();
			if (I_meas_error == 1) {
				estatus.state = E_state_to_error;
				estatus.error = E_I_measure;
			}
			adc_started++;
		} else {
			adc_get_values();
		}
		convCompleted = 0;
	} else {
#if defined SEGGER_DEBUG || defined OCD_DEBUG
		LOG("adc timeout\r\n");
#endif
	}

	float temp = 0;
	if(xQueuePeek(tempQueueHandle, &temp, 0) == pdTRUE) { //1/portTICK_PERIOD_MS
		estatus.T = temp;
	}
	if(xQueuePeek(tempDCQueueHandle, &temp, 0) == pdTRUE) { //1/portTICK_PERIOD_MS
		estatus.T_DC = temp;
	}

#if defined SEGGER_DEBUG || defined OCD_DEBUG
	//SEGGER_SYSVIEW_PrintfHost("temp %u.%02u\n", FLOAT_PRINTF(temp));
	//LOG("T=%u.%02u; ", FLOAT_PRINTF(estatus.T));
	//LOG("U=%u.%02u; ", FLOAT_PRINTF(estatus.U));
	//LOG("I=%u.%02u;\n", FLOAT_PRINTF(estatus.I));
#endif

	if (energocycle_started > (ENERGOCYCLE_START / T_MEASURE_RATE)) {
		energocycle_cycle();
	} else {
		energocycle_started++;
	}

	estatus.TCP_RESETS = CNT_TCP_RESETS;
	estatus.WWDG_RESETS = CNT_WWDG_RESETS;

	i++;

#if defined SEGGER_DEBUG || defined OCD_DEBUG
//	if (i % 100) {
//		LOG("I1 %s%u.%02u - I2 %s%u.%02u - I3 %s%u.%02u - I4 %s%u.%02u\n",
//					FLOAT_PRINTF_SIGNED(eadc.I1),
//					FLOAT_PRINTF_SIGNED(eadc.I2),
//					FLOAT_PRINTF_SIGNED(eadc.I3),
//					FLOAT_PRINTF_SIGNED(eadc.I4));
//
//	}
#endif
	CNT_mainTask++;
	//vTaskDelayUntil(&xLastWakeTime, 500/portTICK_PERIOD_MS);
  }
  /* USER CODE END FmainTask */
}

void FtcpTask(void const * argument)
{
  /* USER CODE BEGIN FtcpTask */
  /* Infinite loop */
  for(;;)
  {
	//if(xSemaphoreTake(spi1MutexHandle, 100/portTICK_PERIOD_MS) == pdPASS)
	//{
	  tcp_task();
	  //xSemaphoreGive(spi1MutexHandle);
	//}

	osDelay(50);
	CNT_tcpTask++;
  }
  /* USER CODE END FtcpTask */
}

void FtcpPeriodicTask(void const * argument)
{
  /* USER CODE BEGIN FtcpPeriodicTask */
  /* Infinite loop */
  for(;;)
  {
	if (TCP_NO_TRANS > TCP_NO_TRANS_MAX) {
		//enc stuck
		//enc28j60_soft_reset();
		enc28j60_get_reg();
		tcp_init();
		TCP_NO_TRANS = 0;
		TCP_NO_TRANS_MAX = 20;
		CNT_TCP_RESETS++;
	} else {
		//if (TCP_NO_TRANS != 0) {
			TCP_NO_TRANS++;
		//}
	}
	tcp_periodic_task();

	{
		float temp = LM92_get_temp();
		xQueueOverwrite(tempDCQueueHandle, &temp);

	}
	CNT_tcpPeriodicTask++;
	osDelay(1000);
  }
  /* USER CODE END FtcpPeriodicTask */
}

void FframeDecoderTask(void const * argument)
{
  /* USER CODE BEGIN FframeDecoderTask */

  /* Infinite loop */
  for(;;)
  {
	uint8_t bufferRX[ TCP_MESSAGE_BUFF_SIZE ];
	uint8_t bufferTX[ TCP_MESSAGE_BUFF_SIZE ];
	memset(bufferRX, 0, TCP_MESSAGE_BUFF_SIZE);
	memset(bufferTX, 0, TCP_MESSAGE_BUFF_SIZE);
	tcp_message_create_buffer();

	uint8_t length  = xStreamBufferReceive(tcp_rx_message_buffer, (uint8_t*)bufferRX, sizeof(bufferRX), portMAX_DELAY);
	if ( length > 0 )
	{
#if defined SEGGER_DEBUG || defined OCD_DEBUG
		//SEGGER_SYSVIEW_PrintfHost("TCP receive %d", length);
//		LOG("TCP recv %d - ", (int)bufferRX[1]);
//		for (int i = 0; i < length; ++i) {
//			LOG("%x ", (int)bufferRX[i]);
//		}
//		LOG("\r\n");
#endif

		Listener->ProcessCommand(bufferRX, bufferTX);

		xStreamBufferSend(tcp_tx_message_buffer, bufferTX, bufferTX[1], 10);

#if defined SEGGER_DEBUG || defined OCD_DEBUG
		//SEGGER_SYSVIEW_PrintfHost("TCP send %d", bufferTX[1]);
//		LOG("TCP send %d -    ", (int)bufferTX[1]);
//		for (int i = 0; i < bufferTX[1]; ++i) {
//			LOG("%x ", (int)bufferTX[i]);
//		}
//		LOG("\r\n");
#endif
	}
	CNT_frameDecoderTask++;
    //osDelay(1000);
  }
  /* USER CODE END FframeDecoderTask */
}

/* CtempTimer function */
void CtempTimer(void const * argument)
{
  /* USER CODE BEGIN CtempTimer */
#if defined SEGGER_DEBUG || defined OCD_DEBUG
	//SEGGER_SYSVIEW_PrintfHost("temp\n");
#endif
	{
	//if(xSemaphoreTake(spi1MutexHandle, 100/portTICK_PERIOD_MS) == pdPASS) {
		float temp = MAX6675_get_temp_slow(); //
		xQueueOverwrite(tempQueueHandle, &temp);
#if defined SEGGER_DEBUG || defined OCD_DEBUG
		//SEGGER_SYSVIEW_PrintfHost("temp@ %u.%02u\n", FLOAT_PRINTF(temp));
		//LOG("temp %u.%02u\n", FLOAT_PRINTF(temp));
#endif
		//xSemaphoreGive(spi1MutexHandle);
	}
	CNT_tempTimer++;
  /* USER CODE END CtempTimer */
}

/* CwwdgTimer function */
void CwwdgTimer(void const * argument)
{
  /* USER CODE BEGIN CwwdgTimer */
  CNT_wwdgTimer++;
#ifdef WWDG_PROTECTION
  if (WWDG_INIT) {

	  if ((CNT_wwdgTimer != 0) && ((CNT_wwdgTimer % 300) == 0)) {
		  if (_CNT_mainTask == CNT_mainTask) {
			  FREERTOS_CHECK = 0;
		  } else {
			  _CNT_mainTask = CNT_mainTask;
		  }
		  if (_CNT_tcpTask == CNT_tcpTask) {
			  FREERTOS_CHECK = 0;
		  } else {
			  _CNT_tcpTask = CNT_tcpTask;
		  }
		  if (_CNT_tcpPeriodicTask == CNT_tcpPeriodicTask) {
			  FREERTOS_CHECK = 0;
		  } else {
			  _CNT_tcpPeriodicTask = CNT_tcpPeriodicTask;
		  }
		  if (_CNT_tempTimer == CNT_tempTimer) {
			  FREERTOS_CHECK = 0;
		  } else {
			  _CNT_tempTimer = CNT_tempTimer;
		  }
	  }

	  if (FREERTOS_CHECK == 1) {
		  HAL_WWDG_Refresh(&hwwdg);
	  }
  }
#endif
//  if (CNT_wwdgTimer == 1000) {
//	  BUSF = AAA[10000000000];
//	  //BUSF = 1 / 0;
//	  //HAL_WWDG_Refresh(&hwwdg);
//  }
  /* USER CODE END CwwdgTimer */
}

void Error_Handler(void)
{
  __disable_irq();
  while (1)
  {
  }
}

/************************ (C) COPYRIGHT STMicroelectronics *****END OF FILE****/
